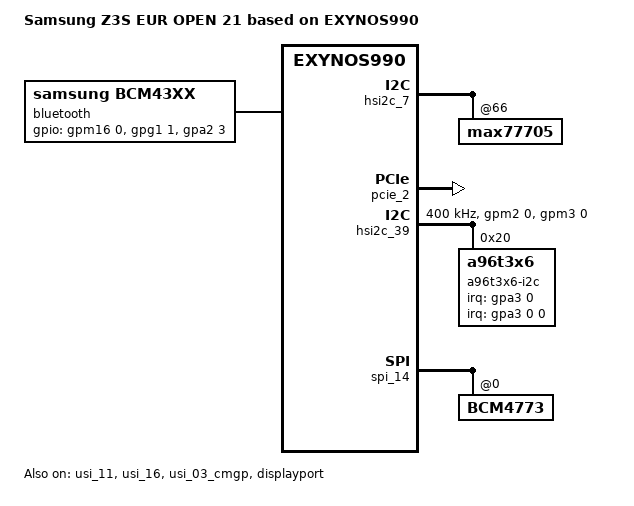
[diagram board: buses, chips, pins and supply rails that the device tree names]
/*
 * SAMSUNG EXYNOS990 board device tree source
 *
 * Copyright (c) 2019 Samsung Electronics Co., Ltd.
 *		http://www.samsung.com
 *
 * This program is free software; you can redistribute it and/or modify
 * it under the terms of the GNU General Public License version 2 as
 * published by the Free Software Foundation.
*/

/dts-v1/;
/plugin/;
#include "exynos9830-z3s_pm_21.dtsi"
#include "exynos990-z3s_common.dtsi"
#include "exynos9830-z3s_camera_csi_21.dtsi"
#include "exynos_gpio_config_macros.dtsi"
#include "exynos9830-picasso_nfc_17.dtsi"
#include "../exynos/exynos9830-universal9830-cp-s5123-sipc.dtsi"
#include <dt-bindings/gpio/gpio.h>
#include "exynos9830-sensorhub_03.dtsi"
#include "exynos9830-hubblez3_fingerprint_00.dtsi"
#include "battery_data_hubblez3_00.dtsi"

#define BOARD_ID	0x10
#define BOARD_REV	0x0

/ {
	compatible = "samsung,Z3S EUR OPEN 21", "samsung,EXYNOS990";
	dtbo-hw_rev = <21>;
	dtbo-hw_rev_end = <21>;
	edtbo-rev = <0>;

	fragment@model {
		target-path = "/";
		__overlay__ {
			#address-cells = <2>;
			#size-cells = <1>;

			model = "Samsung Z3S EUR OPEN 21 based on EXYNOS990";

			acpm_ipc {
				compatible = "samsung,exynos-acpm-ipc";
				board-id = <BOARD_ID>;
				board-rev = <BOARD_REV>;
			};

			pinctrl@15850000 {
				bt_hostwake: bt-hostwake {
					samsung,pins = "gpa2-3";
					samsung,pin-function = <0xF>;
					samsung,pin-pud = <1>;
				};
			};

			pinctrl@10730000 {
				bt_btwake: bt-btwake {
					samsung,pins = "gpg1-1";
					samsung,pin-function = <1>;
					samsung,pin-pud = <0>;
					samsung,pin-con-pdn = <3>;
					samsung,pin-pud-pdn = <0>;
				};
			};

			pinctrl@15C30000 {
				bt_en: bt-en {
					samsung,pins = "gpm16-0";
					samsung,pin-function = <1>;
					samsung,pin-pud = <0>;
					samsung,pin-con-pdn = <3>;
					samsung,pin-pud-pdn = <0>;
				};
			};

			bluetooth {
				compatible = "samsung,bcm43xx";
				gpios = <&gpm16 0 GPIO_ACTIVE_HIGH    /*BT_EN*/
				&gpg1 1 GPIO_ACTIVE_HIGH    /*BT_WAKE*/
				&gpa2 3 GPIO_ACTIVE_HIGH    /*BT_HOST_WAKE*/ >;
				pinctrl-names = "default";
				pinctrl-0=<&bt_en &bt_hostwake &bt_btwake>;
				status = "okay";
			};
		}; /* end of __overlay__ */
	}; /* end of fragment */
}; /* end of root */

&panel_0 {
	/* reset, power */
	gpios = <&gpa3 4 0x1>;
};

&pinctrl_0 {
	conn_det_ctrl: conn-det-ctrl {
		samsung,pins = "gpa0-0";
		samsung,pin-pud = <0>;
	};
};

&panel_drv_0 {
	pinctrl-0 = <&disp_det_ctrl &disp_te_ctrl &conn_det_ctrl>;
	gpios {
		conn-det {
			name = "conn-det";
			gpios = <&gpa0 0 0>; 		/* 0:NOK(active) 1:OK */
			dir = <1>;  				/* IN */
			irq-type = <0x00002001>;	/* RISING EDGE | ONE_SHOT */
		};
	};
};

&chosen {
	bootargs_ext = "root=/dev/ram0 androidboot.boot_devices=13100000.ufs";
};

&usi_11 {
	usi_v2_mode = "i2c";
	status = "okay";
};

&usi_16 {
	usi_v2_mode = "spi";
	status = "okay";
};

&usi_03_cmgp {
	usi_v2_mode = "i2c";
	status = "okay";
};

&hsi2c_7 {
	max77705@66 {
		max77705,extra_fw_enable = <0>;
	};
};

&pinctrl_1 {
	hsi2c44_bus: hsi2c44-bus {
		samsung,pins = "gpm12-0", "gpm13-0";
		samsung,pin-function = <2>;
		samsung,pin-pud = <0>;
		samsung,pin-drv = <0>;
	};
};

&pinctrl_5 {
	aux_oe: aux-oe {
		samsung,pins = "gpp6-2";
		samsung,pin-function = <1>;
		samsung,pin-pud = <0>;
		samsung,pin-con-pdn = <3>;
		samsung,pin-pud-pdn = <0>;
		};

	sbu_sel: sbu-sel {
		samsung,pins = "gpp6-1";
		samsung,pin-function = <1>;
		samsung,pin-pud = <0>;
		samsung,pin-con-pdn = <3>;
		samsung,pin-pud-pdn = <0>;
		};
};

&displayport {
	status = "okay";
	dp,aux_sw_oe = <&gpp6 2 0>;
	dp,sbu_sw_sel = <&gpp6 1 0>;
	dp,usb_con_sel = <&gpm26 0 0>;

	pinctrl-names = "default";
	pinctrl-0 = <&aux_oe &sbu_sel>;
};

&pcie_2 {
	status = "okay";
	chip-ver = <1>;
	use-sysmmu = "false";
	use-cache-coherency = "true";
	use-msi = "true";
	use-pcieon-sleep = "true";
	phy-power-off = "false";
	ep-device-type = <EP_SAMSUNG_MODEM>;
	ep-device-name = "MODEM";
};

&ufs {
	/* board type for UFS CAL */
	evt-ver = /bits/ 8 <1>;
};

&hsi2c_39 { /* 15D10000 */
	#address-cells = <1>;
	#size-cells = <0>;
	gpios = <&gpm2 0 0 &gpm3 0 0>;
	status = "okay";
	clock-frequency = <400000>;

	pinctrl-names = "default";
	pinctrl-0 = <&grip_i2c>;


	a96t3x6-i2c@20{
		compatible = "a96t3x6";
		reg = <0x20>;
		status = "okay";
		pinctrl-names = "default";
		pinctrl-0 = <&grip_irq &grip_ldo>;
		interrupt-parent = <&gpa3>;
		interrupts = <0 0 0>;

		a96t3x6,irq_gpio = <&gpa3 0 0>;
		a96t3x6,ldo_en = <&gpp9 3 0>;
		a96t3x6,fw_path = "a96t365_z3s_eur.bin";
		a96t3x6,firmup_cmd = <0x60>;
	};
};

&spi_14 {
	BCM4773@0 {
		ssp-acc-position = <5>;
		ssp-mag-position = <1>;
		ssp-mag-array = /bits/ 8 <240 83 235 204 213 79 1 64 213 52 81 77 193 102 255 122 0 57 20 34
					191 253 245 91 9 117 212>;
		ssp-thermi-up = /bits/ 16 <3244 3216 3177 3127 3063 2987 2893 2785 2663 2522 2364 2191 2019 1841 1664 1492 1325 1165 1024 894 772 658 579>;
		ssp-thermi-sub = /bits/ 16 <4095 4095 4095 4026 3810 3566 3300 3013 2725 2438 2142 1871 1626 1402 1202 1030 874 744 631 535 453 385 331>;
	};
};

/* ----------------------------------------------------------------------------
 * Configurations for GPIOs without Device Driver
 * Note: Do NOT add pins using by device drivers to the configuration below
 * ----------------------------------------------------------------------------
 */
/*
 * pin banks of exynos9830 pin-controller 0 (ALIVE) : pinctrl@15850000
 * GPA0, GPA1, GPA2, GPA3, GPA4
 * GPQ0
 */
&pinctrl_0 {
	pinctrl-names = "default";
	pinctrl-0 = <&initial0>;
	initial0: initial-state {
		PIN_IN(gpq0-6, DOWN);			/* XSPEEDY_DCXO */
	};
};

/*
 * pin banks of exynos9830 pin-controller 4 (PERIC0) : pinctrl@10430000
 * GPP0, GPP1, GPP2, GPP3, GPP4
 * GPG0
 */
&pinctrl_4 {
	pinctrl-names = "default";
	pinctrl-0 = <&initial4>;
	initial4: initial-state {
		PIN_IN_SLP(gpp2-4, NONE, INPUT, NONE);	/* SUB_VER_1 */
		PIN_IN_SLP(gpp2-5, NONE, INPUT, NONE);	/* SUB_VER_2 */
	};
};

/*
 * pin banks of exynos9830 pin-controller 5 (PERIC1) : pinctrl@10730000
 * GPP5, GPP6, GPP7, GPP8, GPP9
 * GPC0
 * GPG1
 * GPB0, GPB1, GPB2
 */
&pinctrl_5 {
	pinctrl-names = "default";
	pinctrl-0 = <&initial5>;
	initial5: initial-state {
		PIN_IN_SLP(gpp5-0, NONE, INPUT, NONE);	/* MEM_SCL_1P8 */
		PIN_IN_SLP(gpp5-1, NONE, INPUT, NONE);	/* MEM_SDA_1P8 */
		PIN_IN_SLP(gpp5-5, NONE, INPUT, NONE);	/* HW_REV_M */
		PIN_IN_SLP(gpb0-0, NONE, INPUT, NONE);	/* INTERPOSER_DET_R_2 */
		PIN_IN_SLP(gpb0-1, NONE, INPUT, NONE);	/* INTERPOSER_DET_R_1 */
		PIN_IN_SLP(gpb0-2, NONE, INPUT, NONE);	/* INTERPOSER_DET_L_1 */
		PIN_IN_SLP(gpb0-3, NONE, INPUT, NONE);	/* INTERPOSER_DET_L_2 */
	};
};
